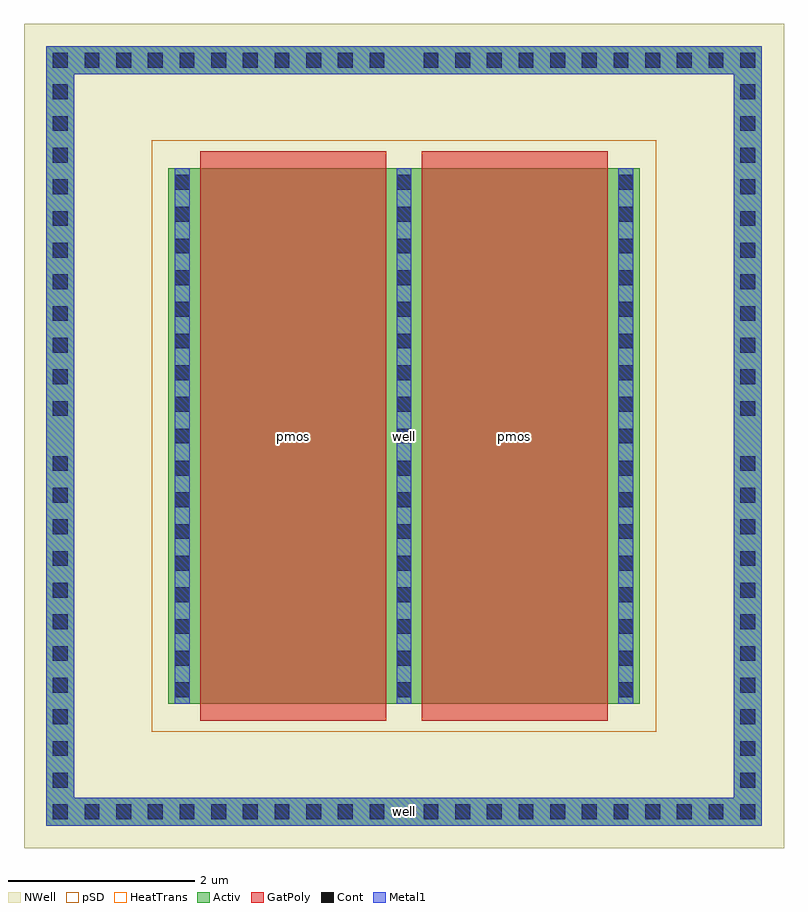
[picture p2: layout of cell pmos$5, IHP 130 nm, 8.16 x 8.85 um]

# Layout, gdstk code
import gdstk
lib = gdstk.Library(unit=1e-6, precision=1e-09)
def R(c, l, rs):  # rectangles x0, y0, x1, y1
    for r in rs: c.add(gdstk.rectangle(r[:2], r[2:], *l))
def A(c, l, x, y, w, h, nx, ny, dx, dy):  # array of equal rectangles
    R(c, l, [(x+i*dx, y+j*dy, x+i*dx+w, y+j*dy+h) for i in range(nx) for j in range(ny)])
def P(c, l, *ps):  # polygons
    for p in ps: c.add(gdstk.Polygon(p, *l))
Activ = (1, 0)
GatPoly = (5, 0)
Cont = (6, 0)
Metal1 = (8, 0)
pSD = (14, 0)
NWell = (31, 0)
HeatTrans = (51, 0)

pmos_5 = lib.new_cell('pmos$5')
A(pmos_5, Activ, 0, 0, 0.3, 0.3, 3, 1, 2.38, 0)
R(pmos_5, Activ, [(0,0,5.06,5.75)])
P(pmos_5, Activ, [(-1.31,-1.31),(-1.31,6.76),(-1.01,6.76),(-1.01,-1.01),(6.07,-1.01),(6.07,6.76),(-1.31,6.76),(-1.31,7.06),(6.37,7.06),(6.37,-1.31)])
R(pmos_5, GatPoly, [(0.34,-0.18,2.34,5.93), (0.34,-0.18,2.34,5.93), (2.72,-0.18,4.72,5.93)])
A(pmos_5, Cont, -1.24, -1.24, 0.16, 0.16, 11, 2, 0.34, 8.07)
A(pmos_5, Cont, 2.74, -1.24, 0.16, 0.16, 11, 2, 0.34, 8.07)
A(pmos_5, Cont, -1.24, -0.9, 0.16, 0.16, 1, 11, 0, 0.34)
A(pmos_5, Cont, 6.14, -0.9, 0.16, 0.16, 1, 11, 0, 0.34)
A(pmos_5, Cont, 0.07, 0.07, 0.16, 0.16, 3, 8, 2.38, 0.34)
A(pmos_5, Cont, 0.07, 2.795, 0.16, 0.16, 3, 8, 2.38, 0.34)
A(pmos_5, Cont, -1.24, 3.09, 0.16, 0.16, 1, 11, 0, 0.34)
A(pmos_5, Cont, 6.14, 3.09, 0.16, 0.16, 1, 11, 0, 0.34)
A(pmos_5, Cont, 0.07, 5.52, 0.16, 0.16, 3, 1, 2.38, 0)
R(pmos_5, Metal1, [(-1.31,-1.31,6.37,-1.01), (-1.31,-1.01,-1.01,6.76), (6.07,-1.01,6.37,6.76), (0.07,0,0.23,5.75), (0.07,0,0.23,5.75), (2.45,0,2.61,5.75), (2.45,0,2.61,5.75), (4.83,0,4.99,5.75), (-1.31,6.76,6.37,7.06)])
R(pmos_5, pSD, [(-0.18,-0.3,5.24,6.05)])
R(pmos_5, NWell, [(-1.55,-1.55,6.61,7.3), (-0.31,-0.31,5.37,6.06)])
R(pmos_5, HeatTrans, [(0.34,-0.18,2.34,5.93), (2.72,-0.18,4.72,5.93)])
pmos_5.add(gdstk.Label('well', (2.53,2.875), layer=31, texttype=0))
pmos_5.add(gdstk.Label('pmos', (1.34,2.875), layer=63, texttype=0))
pmos_5.add(gdstk.Label('well', (2.53,-1.16), layer=63, texttype=0))
pmos_5.add(gdstk.Label('pmos', (1.34,2.875), layer=51, texttype=0))
pmos_5.add(gdstk.Label('pmos', (3.72,2.875), layer=51, texttype=0))

lib.write_gds('pmos_5.gds')
